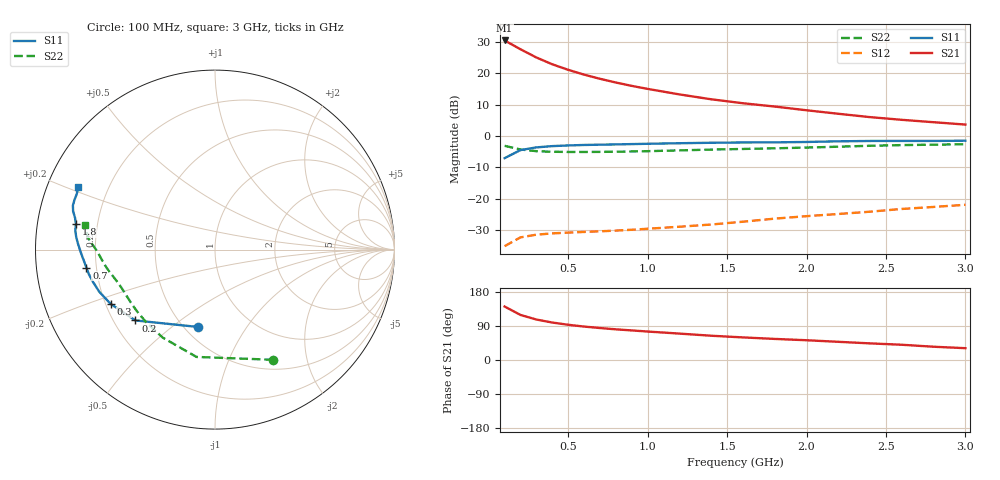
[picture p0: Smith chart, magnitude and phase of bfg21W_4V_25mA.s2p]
! Filename: 425bfg21.001
! Title: BFG21W
! Bias: Vce=4V; Ic=25mA
! Company: Philips Semiconductors NL
! User: Quality&Reliability T&D
! Measure time: 10 Nov 1999 / 11:45:05
#  MHz  S  MA  R 50
! Freq  S11  S21  S12  S22  :
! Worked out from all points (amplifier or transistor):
!   20 points, 100 MHz to 3 GHz, reference 50 ohm
!   highest |S21| = 30.4 dB at 100 MHz (marker M1)
!   |S21| within 3 dB of that: start of sweep to 207.1 MHz
!   unconditionally stable (mu >= 1): 1.119 GHz to end of sweep
!   at 400 MHz: K = 0.49, MSG = 27.0 dB, |S12| = -31.1 dB
!   at 1.2 GHz: K = 1.04, MAG = 20.0 dB, |S12| = -29.0 dB
!   at 3 GHz: K = 1.05, MAG = 11.4 dB, |S12| = -22.0 dB
!   S11 on the Smith chart (normalised r, x): 100 MHz: 0.58, -0.62; 200 MHz: 0.29, -0.35; 300 MHz: 0.22, -0.23; 700 MHz: 0.16, -0.07; 1.8 GHz: 0.12, +0.09; 3 GHz: 0.09, +0.22
100  0.4414 -102.5  33.28 141.1  0.0174 46.6  0.6936 -62.2
200  0.5935 -138.3  24.07 118.9  0.02405 35.9  0.6068 -99.8
300  0.6554 -152.5  17.8 106.8  0.02655 31.3  0.5703 -120.7
400  0.6864 -160.0  13.87 98.9  0.02784 30.2  0.5578 -133.3
500  0.7037 -165.3  11.32 93.0  0.02864 30.6  0.5541 -141.6
600  0.716 -169.0  9.482 88.3  0.02935 32.1  0.5539 -147.3
700  0.7235 -172.0  8.143 84.4  0.03002 34.3  0.5554 -151.7
800  0.7309 -174.5  7.099 80.9  0.03084 36.9  0.5586 -155.2
900  0.7396 -176.8  6.273 78.0  0.0318 39.9  0.5638 -158.2
1000  0.7479 -178.8  5.618 75.1  0.03299 42.5  0.5703 -160.9
1200  0.7636 177.7  4.587 69.6  0.03554 47.7  0.5871 -165.3
1400  0.7763 174.9  3.834 64.0  0.03855 52.3  0.6043 -168.8
1600  0.7853 172.3  3.315 59.6  0.04275 56.6  0.6186 -171.8
1800  0.7882 169.5  2.936 55.6  0.04786 60.1  0.6333 -174.9
2000  0.7994 167.2  2.56 52.1  0.05237 63.2  0.6507 -178.2
2200  0.819 164.9  2.252 48.0  0.05674 65.3  0.6721 178.8
2400  0.8291 162.7  1.991 43.8  0.06177 66.4  0.6951 176.5
2600  0.8305 160.6  1.803 40.2  0.06828 66.8  0.7127 174.4
2800  0.8303 158.1  1.652 35.0  0.07352 66.2  0.7238 172.0
3000  0.8373 155.4  1.515 31.2  0.07958 66.2  0.7355 169.1
